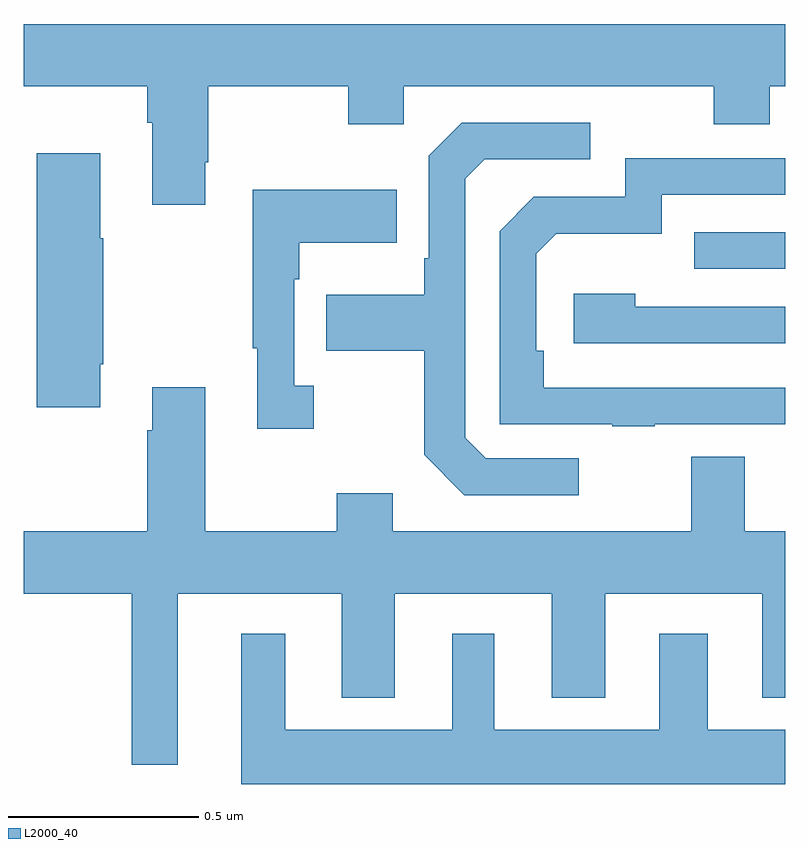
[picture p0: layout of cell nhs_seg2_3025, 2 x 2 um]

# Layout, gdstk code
import gdstk
lib = gdstk.Library(unit=1e-6, precision=1e-09)
def R(c, l, rs):  # rectangles x0, y0, x1, y1
    for r in rs: c.add(gdstk.rectangle(r[:2], r[2:], *l))
def P(c, l, *ps):  # polygons
    for p in ps: c.add(gdstk.Polygon(p, *l))
L2000_40 = (2000, 40)

nhs_seg2_3025 = lib.new_cell('nhs_seg2_3025')
R(nhs_seg2_3025, L2000_40, [(149.761,651.153,150,651.249)])
P(nhs_seg2_3025, L2000_40, [(148.477,651.433),(148.485,651.433),(148.485,651.632),(148.852,651.632),(148.852,651.533),(148.998,651.533),(148.998,651.632),(149.812,651.632),(149.812,651.533),(149.959,651.533),(149.959,651.632),(150,651.632),(150,651.796),(148,651.796),(148,651.632),(148.325,651.632),(148.325,651.536),(148.337,651.536),(148.337,651.321),(148.477,651.321)],
  [(149.458,650.655),(149.214,650.655),(149.16,650.709),(149.16,651.39),(149.211,651.441),(149.488,651.441),(149.488,651.537),(149.151,651.537),(149.064,651.45),(149.064,651.181),(149.052,651.181),(149.052,651.085),(148.795,651.085),(148.795,650.938),(149.052,650.938),(149.052,650.665),(149.157,650.559),(149.458,650.559)],
  [(148.201,650.902),(148.209,650.902),(148.209,651.233),(148.201,651.233),(148.201,651.457),(148.034,651.457),(148.034,650.79),(148.201,650.79)],
  [(149.657,650.745),(150,650.745),(150,650.841),(149.366,650.841),(149.366,650.938),(149.346,650.938),(149.346,651.192),(149.399,651.245),(149.676,651.245),(149.676,651.348),(150,651.348),(150,651.444),(149.58,651.444),(149.58,651.342),(149.34,651.342),(149.25,651.252),(149.25,650.745),(149.545,650.745),(149.545,650.74),(149.657,650.74)],
  [(148.762,650.846),(148.71,650.846),(148.71,651.125),(148.723,651.125),(148.723,651.221),(148.979,651.221),(148.979,651.361),(148.602,651.361),(148.602,650.945),(148.613,650.945),(148.613,650.733),(148.762,650.733)],
  [(150,651.054),(149.606,651.054),(149.606,651.088),(149.445,651.088),(149.445,650.958),(150,650.958)],
  [(148.405,650.3),(148.835,650.3),(148.835,650.027),(148.975,650.027),(148.975,650.3),(149.387,650.3),(149.387,650.027),(149.527,650.027),(149.527,650.3),(149.939,650.3),(149.939,650.027),(150,650.027),(150,650.464),(149.893,650.464),(149.893,650.659),(149.753,650.659),(149.753,650.464),(148.969,650.464),(148.969,650.563),(148.822,650.563),(148.822,650.464),(148.477,650.464),(148.477,650.842),(148.337,650.842),(148.337,650.729),(148.325,650.729),(148.325,650.464),(148,650.464),(148,650.3),(148.284,650.3),(148.284,649.851),(148.405,649.851)],
  [(150,649.942),(149.797,649.942),(149.797,650.194),(149.669,650.194),(149.669,649.942),(149.236,649.942),(149.236,650.194),(149.126,650.194),(149.126,649.942),(148.687,649.942),(148.687,650.194),(148.571,650.194),(148.571,649.8),(150,649.8)])

lib.write_gds('nhs_seg2_3025.gds')
